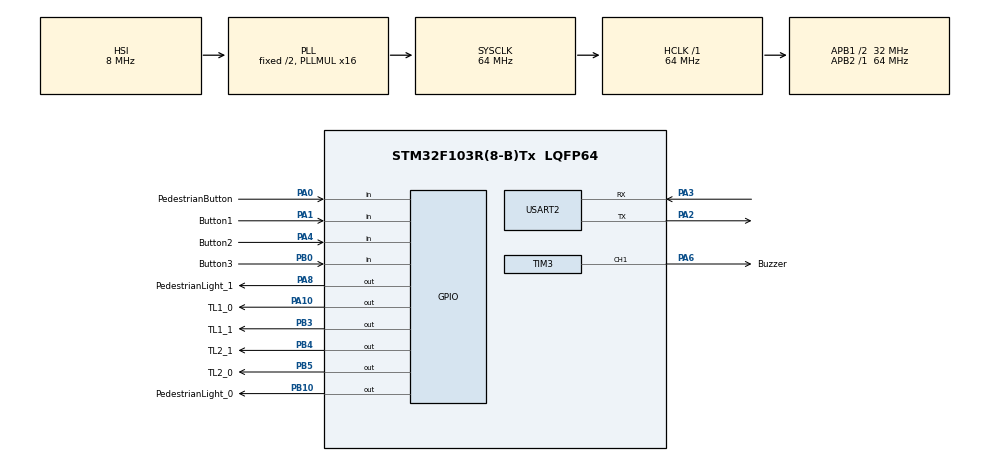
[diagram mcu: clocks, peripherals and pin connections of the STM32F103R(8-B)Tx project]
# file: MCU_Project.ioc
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Mcu.Family=STM32F1
Mcu.Name=STM32F103R(8-B)Tx
Mcu.Package=LQFP64
NVIC.PriorityGroup=NVIC_PRIORITYGROUP_4
NVIC.TIM2_IRQn=true\:0\:0\:false\:false\:true\:true\:true\:true
NVIC.USART2_IRQn=true\:0\:0\:false\:false\:true\:true\:true\:true
PA0-WKUP.GPIO_Label=PedestrianButton
PA0-WKUP.Signal=GPIO_Input
PA1.GPIO_Label=Button1
PA1.Signal=GPIO_Input
PA10.GPIO_Label=TL1_0
PA10.Signal=GPIO_Output
PA13.Mode=Serial_Wire
PA13.Signal=SYS_JTMS-SWDIO
PA14.Mode=Serial_Wire
PA14.Signal=SYS_JTCK-SWCLK
PA2.Mode=Asynchronous
PA2.Signal=USART2_TX
PA3.Mode=Asynchronous
PA3.Signal=USART2_RX
PA4.GPIO_Label=Button2
PA4.Signal=GPIO_Input
PA6.GPIO_Label=Buzzer
PA6.Signal=S_TIM3_CH1
PA8.GPIO_Label=PedestrianLight_1
PA8.Signal=GPIO_Output
PB0.GPIO_Label=Button3
PB0.Signal=GPIO_Input
PB10.GPIO_Label=PedestrianLight_0
PB10.Signal=GPIO_Output
PB3.GPIO_Label=TL1_1
PB3.Signal=GPIO_Output
PB4.GPIO_Label=TL2_1
PB4.Signal=GPIO_Output
PB5.GPIO_Label=TL2_0
PB5.Signal=GPIO_Output
ProjectManager.HeapSize=0x200
ProjectManager.StackSize=0x400
ProjectManager.TargetToolchain=STM32CubeIDE
RCC.AHBFreq_Value=64000000
RCC.APB1CLKDivider=RCC_HCLK_DIV2
RCC.APB1Freq_Value=32000000
RCC.APB1TimFreq_Value=64000000
RCC.APB2Freq_Value=64000000
RCC.APB2TimFreq_Value=64000000
RCC.HCLKFreq_Value=64000000
RCC.PLLMUL=RCC_PLL_MUL16
RCC.SYSCLKFreq_VALUE=64000000
RCC.SYSCLKSource=RCC_SYSCLKSOURCE_PLLCLK
RCC.USBFreq_Value=64000000
SH.S_TIM3_CH1.0=TIM3_CH1,PWM Generation1 CH1
TIM2.Period=79
TIM2.Prescaler=7999
TIM3.Channel-PWM\ Generation1\ CH1=TIM_CHANNEL_1
TIM3.Period=63
TIM3.Prescaler=999
USART2.VirtualMode=VM_ASYNC
VP_TIM2_VS_ClockSourceINT.Mode=Internal
VP_TIM3_VS_ClockSourceINT.Mode=Internal
board=custom

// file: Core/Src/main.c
/* USER CODE BEGIN Header */
/**
  ******************************************************************************
  * @file           : main.c
  * @brief          : Main program body
  ******************************************************************************
  * @attention
  *
  * <h2><center>&copy; Copyright (c) 2022 STMicroelectronics.
  * All rights reserved.</center></h2>
  *
  * This software component is licensed by ST under BSD 3-Clause license,
  * the "License"; You may not use this file except in compliance with the
  * License. You may obtain a copy of the License at:
  *                        opensource.org/licenses/BSD-3-Clause
  *
  ******************************************************************************
  */
/* USER CODE END Header */
#include "main.h"

/* USER CODE BEGIN Includes */
#include "timer.h"
#include "automatic_fsm.h"
#include "manual_fsm.h"
#include "pedestrian_fsm.h"
#include "tuning_fsm.h"

/* USER CODE END Includes */

TIM_HandleTypeDef htim2;
TIM_HandleTypeDef htim3;

UART_HandleTypeDef huart2;

void SystemClock_Config(void);
static void MX_GPIO_Init(void);
static void MX_TIM2_Init(void);
static void MX_USART2_UART_Init(void);
static void MX_TIM3_Init(void);

int main(void)
{

  /* MCU Configuration--------------------------------------------------------*/

  /* Reset of all peripherals, Initializes the Flash interface and the Systick. */
  HAL_Init();

  /* Configure the system clock */
  SystemClock_Config();

  /* Initialize all configured peripherals */
  MX_GPIO_Init();
  MX_TIM2_Init();
  MX_USART2_UART_Init();
  MX_TIM3_Init();
  /* USER CODE BEGIN 2 */
//  SCH_Add_Task(test_IO, 10, 10);
  HAL_TIM_Base_Start_IT(&htim2);
  HAL_TIM_PWM_Start(&htim3, TIM_CHANNEL_1);
  /* USER CODE END 2 */

  /* Infinite loop */
  /* USER CODE BEGIN WHILE */
  status = INIT;
  pedsStatus = NO_PED;

  while (1)
  {
	  automatic_run();
	  manual_run();
	  tuning_run();
	  pedestrian_run();
    /* USER CODE END WHILE */

  }
}

void SystemClock_Config(void)
{
  RCC_OscInitTypeDef RCC_OscInitStruct = {0};
  RCC_ClkInitTypeDef RCC_ClkInitStruct = {0};

  /** Initializes the RCC Oscillators according to the specified parameters
  * in the RCC_OscInitTypeDef structure.
  */
  RCC_OscInitStruct.OscillatorType = RCC_OSCILLATORTYPE_HSI;
  RCC_OscInitStruct.HSIState = RCC_HSI_ON;
  RCC_OscInitStruct.HSICalibrationValue = RCC_HSICALIBRATION_DEFAULT;
  RCC_OscInitStruct.PLL.PLLState = RCC_PLL_ON;
  RCC_OscInitStruct.PLL.PLLSource = RCC_PLLSOURCE_HSI_DIV2;
  RCC_OscInitStruct.PLL.PLLMUL = RCC_PLL_MUL16;
  if (HAL_RCC_OscConfig(&RCC_OscInitStruct) != HAL_OK)
  {
    Error_Handler();
  }
  /** Initializes the CPU, AHB and APB buses clocks
  */
  RCC_ClkInitStruct.ClockType = RCC_CLOCKTYPE_HCLK|RCC_CLOCKTYPE_SYSCLK
                              |RCC_CLOCKTYPE_PCLK1|RCC_CLOCKTYPE_PCLK2;
  RCC_ClkInitStruct.SYSCLKSource = RCC_SYSCLKSOURCE_PLLCLK;
  RCC_ClkInitStruct.AHBCLKDivider = RCC_SYSCLK_DIV1;
  RCC_ClkInitStruct.APB1CLKDivider = RCC_HCLK_DIV2;
  RCC_ClkInitStruct.APB2CLKDivider = RCC_HCLK_DIV1;

  if (HAL_RCC_ClockConfig(&RCC_ClkInitStruct, FLASH_LATENCY_2) != HAL_OK)
  {
    Error_Handler();
  }
}

static void MX_TIM2_Init(void)
{

  TIM_ClockConfigTypeDef sClockSourceConfig = {0};
  TIM_MasterConfigTypeDef sMasterConfig = {0};

  htim2.Instance = TIM2;
  htim2.Init.Prescaler = 7999;
  htim2.Init.CounterMode = TIM_COUNTERMODE_UP;
  htim2.Init.Period = 79;
  htim2.Init.ClockDivision = TIM_CLOCKDIVISION_DIV1;
  htim2.Init.AutoReloadPreload = TIM_AUTORELOAD_PRELOAD_DISABLE;
  if (HAL_TIM_Base_Init(&htim2) != HAL_OK)
  {
    Error_Handler();
  }
  sClockSourceConfig.ClockSource = TIM_CLOCKSOURCE_INTERNAL;
  if (HAL_TIM_ConfigClockSource(&htim2, &sClockSourceConfig) != HAL_OK)
  {
    Error_Handler();
  }
  sMasterConfig.MasterOutputTrigger = TIM_TRGO_RESET;
  sMasterConfig.MasterSlaveMode = TIM_MASTERSLAVEMODE_DISABLE;
  if (HAL_TIMEx_MasterConfigSynchronization(&htim2, &sMasterConfig) != HAL_OK)
  {
    Error_Handler();
  }

}

static void MX_TIM3_Init(void)
{

  TIM_ClockConfigTypeDef sClockSourceConfig = {0};
  TIM_MasterConfigTypeDef sMasterConfig = {0};
  TIM_OC_InitTypeDef sConfigOC = {0};

  htim3.Instance = TIM3;
  htim3.Init.Prescaler = 999;
  htim3.Init.CounterMode = TIM_COUNTERMODE_UP;
  htim3.Init.Period = 63;
  htim3.Init.ClockDivision = TIM_CLOCKDIVISION_DIV1;
  htim3.Init.AutoReloadPreload = TIM_AUTORELOAD_PRELOAD_DISABLE;
  if (HAL_TIM_Base_Init(&htim3) != HAL_OK)
  {
    Error_Handler();
  }
  sClockSourceConfig.ClockSource = TIM_CLOCKSOURCE_INTERNAL;
  if (HAL_TIM_ConfigClockSource(&htim3, &sClockSourceConfig) != HAL_OK)
  {
    Error_Handler();
  }
  if (HAL_TIM_PWM_Init(&htim3) != HAL_OK)
  {
    Error_Handler();
  }
  sMasterConfig.MasterOutputTrigger = TIM_TRGO_RESET;
  sMasterConfig.MasterSlaveMode = TIM_MASTERSLAVEMODE_DISABLE;
  if (HAL_TIMEx_MasterConfigSynchronization(&htim3, &sMasterConfig) != HAL_OK)
  {
    Error_Handler();
  }
  sConfigOC.OCMode = TIM_OCMODE_PWM1;
  sConfigOC.Pulse = 0;
  sConfigOC.OCPolarity = TIM_OCPOLARITY_HIGH;
  sConfigOC.OCFastMode = TIM_OCFAST_DISABLE;
  if (HAL_TIM_PWM_ConfigChannel(&htim3, &sConfigOC, TIM_CHANNEL_1) != HAL_OK)
  {
    Error_Handler();
  }
  HAL_TIM_MspPostInit(&htim3);

}

static void MX_USART2_UART_Init(void)
{

  huart2.Instance = USART2;
  huart2.Init.BaudRate = 115200;
  huart2.Init.WordLength = UART_WORDLENGTH_8B;
  huart2.Init.StopBits = UART_STOPBITS_1;
  huart2.Init.Parity = UART_PARITY_NONE;
  huart2.Init.Mode = UART_MODE_TX_RX;
  huart2.Init.HwFlowCtl = UART_HWCONTROL_NONE;
  huart2.Init.OverSampling = UART_OVERSAMPLING_16;
  if (HAL_UART_Init(&huart2) != HAL_OK)
  {
    Error_Handler();
  }

}

static void MX_GPIO_Init(void)
{
  GPIO_InitTypeDef GPIO_InitStruct = {0};

  /* GPIO Ports Clock Enable */
  __HAL_RCC_GPIOA_CLK_ENABLE();
  __HAL_RCC_GPIOB_CLK_ENABLE();

  /*Configure GPIO pin Output Level */
  HAL_GPIO_WritePin(GPIOB, PedestrianLight_0_Pin|TL1_1_Pin|TL2_1_Pin|TL2_0_Pin, GPIO_PIN_RESET);

  /*Configure GPIO pin Output Level */
  HAL_GPIO_WritePin(GPIOA, PedestrianLight_1_Pin|TL1_0_Pin, GPIO_PIN_RESET);

  /*Configure GPIO pins : PedestrianButton_Pin Button1_Pin Button2_Pin */
  GPIO_InitStruct.Pin = PedestrianButton_Pin|Button1_Pin|Button2_Pin;
  GPIO_InitStruct.Mode = GPIO_MODE_INPUT;
  GPIO_InitStruct.Pull = GPIO_NOPULL;
  HAL_GPIO_Init(GPIOA, &GPIO_InitStruct);

  /*Configure GPIO pin : Button3_Pin */
  GPIO_InitStruct.Pin = Button3_Pin;
  GPIO_InitStruct.Mode = GPIO_MODE_INPUT;
  GPIO_InitStruct.Pull = GPIO_NOPULL;
  HAL_GPIO_Init(Button3_GPIO_Port, &GPIO_InitStruct);

  /*Configure GPIO pins : PedestrianLight_0_Pin TL1_1_Pin TL2_1_Pin TL2_0_Pin */
  GPIO_InitStruct.Pin = PedestrianLight_0_Pin|TL1_1_Pin|TL2_1_Pin|TL2_0_Pin;
  GPIO_InitStruct.Mode = GPIO_MODE_OUTPUT_PP;
  GPIO_InitStruct.Pull = GPIO_NOPULL;
  GPIO_InitStruct.Speed = GPIO_SPEED_FREQ_LOW;
  HAL_GPIO_Init(GPIOB, &GPIO_InitStruct);

  /*Configure GPIO pins : PedestrianLight_1_Pin TL1_0_Pin */
  GPIO_InitStruct.Pin = PedestrianLight_1_Pin|TL1_0_Pin;
  GPIO_InitStruct.Mode = GPIO_MODE_OUTPUT_PP;
  GPIO_InitStruct.Pull = GPIO_NOPULL;
  GPIO_InitStruct.Speed = GPIO_SPEED_FREQ_LOW;
  HAL_GPIO_Init(GPIOA, &GPIO_InitStruct);

}

/* USER CODE BEGIN 4 */

void HAL_TIM_PeriodElapsedCallback(TIM_HandleTypeDef *htim){
	timer_run();
	button_reading();
}
/* USER CODE END 4 */

void Error_Handler(void)
{
  __disable_irq();
  while (1)
  {
  }
}

/************************ (C) COPYRIGHT STMicroelectronics *****END OF FILE****/
